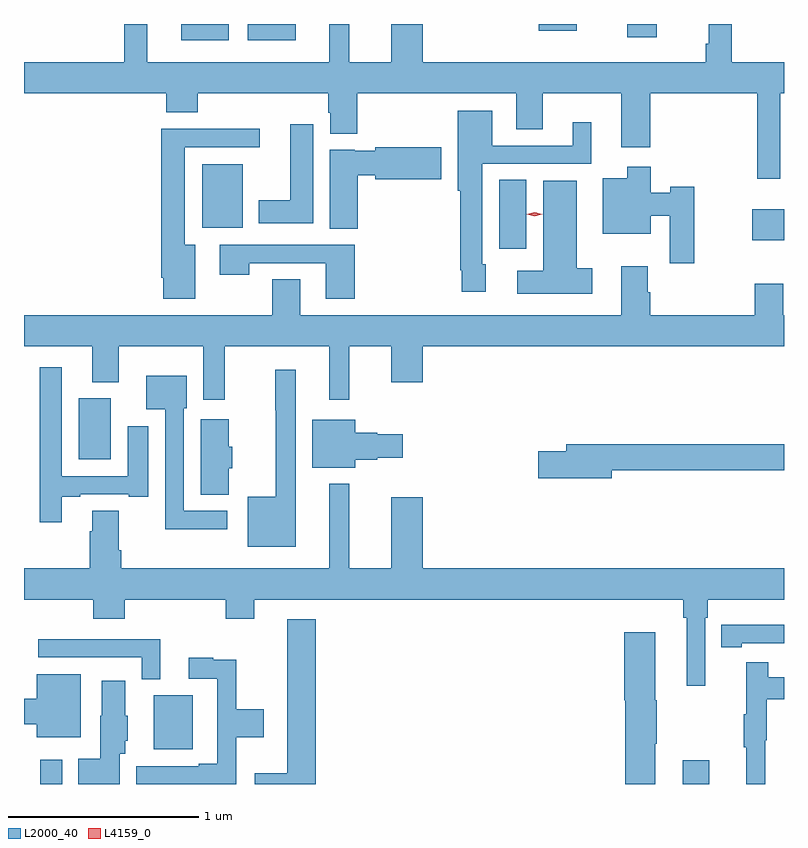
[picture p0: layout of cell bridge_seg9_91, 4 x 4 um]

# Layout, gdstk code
import gdstk
lib = gdstk.Library(unit=1e-6, precision=1e-09)
def R(c, l, rs):  # rectangles x0, y0, x1, y1
    for r in rs: c.add(gdstk.rectangle(r[:2], r[2:], *l))
def P(c, l, *ps):  # polygons
    for p in ps: c.add(gdstk.Polygon(p, *l))
L2000_40 = (2000, 40)
L4159_0 = (4159, 0)

bridge_seg9_91 = lib.new_cell('bridge_seg9_91')
R(bridge_seg9_91, L2000_40, [(786.535,1238.073,786.651,1238.2), (789.917,1238.073,790.057,1238.197), (787.133,1238.255,787.339,1238.539), (786.737,1239.782,786.907,1240.102), (788.951,1240.89,789.094,1241.252), (790.284,1240.934,790.45,1241.098), (787.388,1241,787.6,1241.335), (787.277,1241.987,787.528,1242.073), (787.628,1241.987,787.879,1242.073), (789.626,1242.003,789.781,1242.073), (789.16,1242.038,789.358,1242.073)])
P(bridge_seg9_91, L2000_40, [(790.429,1241.708),(790.45,1241.708),(790.45,1241.872),(790.175,1241.872),(790.175,1242.073),(790.054,1242.073),(790.054,1241.968),(790.039,1241.968),(790.039,1241.872),(788.548,1241.872),(788.548,1242.073),(788.384,1242.073),(788.384,1241.872),(788.161,1241.872),(788.161,1242.073),(788.057,1242.073),(788.057,1241.872),(787.099,1241.872),(787.099,1242.073),(786.978,1242.073),(786.978,1241.872),(786.45,1241.872),(786.45,1241.708),(787.199,1241.708),(787.199,1241.609),(787.364,1241.609),(787.364,1241.708),(788.051,1241.708),(788.051,1241.607),(788.063,1241.607),(788.063,1241.495),(788.204,1241.495),(788.204,1241.708),(789.041,1241.708),(789.041,1241.518),(789.181,1241.518),(789.181,1241.708),(789.593,1241.708),(789.593,1241.424),(789.746,1241.424),(789.746,1241.708),(790.308,1241.708),(790.308,1241.259),(790.429,1241.259)],
  [(788.881,1240.809),(788.862,1240.809),(788.862,1241.337),(789.436,1241.337),(789.436,1241.557),(789.338,1241.557),(789.338,1241.433),(788.914,1241.433),(788.914,1241.617),(788.732,1241.617),(788.732,1241.195),(788.746,1241.195),(788.746,1240.777),(788.754,1240.777),(788.754,1240.665),(788.881,1240.665)],
  [(787.972,1241.545),(787.85,1241.545),(787.85,1241.146),(787.685,1241.146),(787.685,1241.024),(787.972,1241.024)],
  [(787.351,1240.912),(787.297,1240.912),(787.297,1241.424),(787.69,1241.424),(787.69,1241.522),(787.172,1241.522),(787.172,1240.738),(787.184,1240.738),(787.184,1240.626),(787.351,1240.626)],
  [(788.207,1241.278),(788.298,1241.278),(788.298,1241.255),(788.647,1241.255),(788.647,1241.425),(788.298,1241.425),(788.298,1241.407),(788.19,1241.407),(788.19,1241.41),(788.06,1241.41),(788.06,1240.996),(788.207,1240.996)],
  [(789.978,1241.216),(789.852,1241.216),(789.852,1241.185),(789.748,1241.185),(789.748,1241.323),(789.626,1241.323),(789.626,1241.26),(789.497,1241.26),(789.497,1240.97),(789.748,1240.97),(789.748,1241.063),(789.848,1241.063),(789.848,1240.815),(789.978,1240.815)],
  [(789.442,1240.787),(789.358,1240.787),(789.358,1241.248),(789.182,1241.248),(789.182,1240.774),(789.045,1240.774),(789.045,1240.652),(789.442,1240.652)],
  [(788.192,1240.911),(787.479,1240.911),(787.479,1240.752),(787.635,1240.752),(787.635,1240.815),(788.039,1240.815),(788.039,1240.626),(788.192,1240.626)],
  [(787.507,1240.376),(788.057,1240.376),(788.057,1240.095),(788.161,1240.095),(788.161,1240.376),(788.384,1240.376),(788.384,1240.188),(788.548,1240.188),(788.548,1240.376),(790.45,1240.376),(790.45,1240.54),(790.447,1240.54),(790.447,1240.705),(790.295,1240.705),(790.295,1240.54),(789.746,1240.54),(789.746,1240.661),(789.733,1240.661),(789.733,1240.798),(789.593,1240.798),(789.593,1240.54),(787.903,1240.54),(787.903,1240.73),(787.756,1240.73),(787.756,1240.54),(786.45,1240.54),(786.45,1240.376),(786.809,1240.376),(786.809,1240.187),(786.949,1240.187),(786.949,1240.376),(787.394,1240.376),(787.394,1240.095),(787.507,1240.095)],
  [(786.649,1239.585),(786.745,1239.585),(786.745,1239.597),(787.001,1239.597),(787.001,1239.585),(787.105,1239.585),(787.105,1239.955),(786.995,1239.955),(786.995,1239.693),(786.648,1239.693),(786.648,1240.267),(786.532,1240.267),(786.532,1239.45),(786.649,1239.45)],
  [(787.879,1240.252),(787.773,1240.252),(787.773,1240.039),(787.775,1240.039),(787.775,1239.586),(787.628,1239.586),(787.628,1239.323),(787.879,1239.323)],
  [(787.519,1239.51),(787.29,1239.51),(787.29,1240.05),(787.306,1240.05),(787.306,1240.222),(787.094,1240.222),(787.094,1240.046),(787.194,1240.046),(787.194,1239.413),(787.519,1239.413)],
  [(787.528,1239.735),(787.546,1239.735),(787.546,1239.849),(787.528,1239.849),(787.528,1239.994),(787.379,1239.994),(787.379,1239.595),(787.528,1239.595)],
  [(788.194,1239.779),(788.31,1239.779),(788.31,1239.791),(788.443,1239.791),(788.443,1239.913),(788.31,1239.913),(788.31,1239.921),(788.194,1239.921),(788.194,1239.991),(787.967,1239.991),(787.967,1239.737),(788.194,1239.737)],
  [(789.544,1239.724),(790.45,1239.724),(790.45,1239.86),(789.305,1239.86),(789.305,1239.824),(789.156,1239.824),(789.156,1239.682),(789.544,1239.682)],
  [(790.035,1238.948),(790.049,1238.948),(790.049,1239.044),(790.45,1239.044),(790.45,1239.208),(788.548,1239.208),(788.548,1239.583),(788.384,1239.583),(788.384,1239.208),(788.161,1239.208),(788.161,1239.652),(788.057,1239.652),(788.057,1239.208),(786.962,1239.208),(786.962,1239.304),(786.949,1239.304),(786.949,1239.512),(786.809,1239.512),(786.809,1239.404),(786.797,1239.404),(786.797,1239.208),(786.45,1239.208),(786.45,1239.044),(786.815,1239.044),(786.815,1238.942),(786.98,1238.942),(786.98,1239.044),(787.511,1239.044),(787.511,1238.942),(787.663,1238.942),(787.663,1239.044),(789.919,1239.044),(789.919,1238.948),(789.938,1238.948),(789.938,1238.589),(790.035,1238.589)],
  [(787.985,1238.941),(787.835,1238.941),(787.835,1238.129),(787.665,1238.129),(787.665,1238.073),(787.985,1238.073)],
  [(790.228,1238.814),(790.45,1238.814),(790.45,1238.911),(790.228,1238.911),(790.228,1238.91),(790.12,1238.91),(790.12,1238.794),(790.228,1238.794)],
  [(789.772,1238.284),(789.78,1238.284),(789.78,1238.514),(789.772,1238.514),(789.772,1238.872),(789.608,1238.872),(789.608,1238.514),(789.614,1238.514),(789.614,1238.073),(789.772,1238.073)],
  [(787.168,1238.835),(786.525,1238.835),(786.525,1238.739),(787.071,1238.739),(787.071,1238.624),(787.168,1238.624)],
  [(787.568,1238.318),(787.711,1238.318),(787.711,1238.466),(787.568,1238.466),(787.568,1238.726),(787.445,1238.726),(787.445,1238.737),(787.317,1238.737),(787.317,1238.628),(787.467,1238.628),(787.467,1238.179),(787.37,1238.179),(787.37,1238.166),(787.041,1238.166),(787.041,1238.073),(787.568,1238.073)],
  [(790.352,1238.304),(790.36,1238.304),(790.36,1238.518),(790.45,1238.518),(790.45,1238.634),(790.367,1238.634),(790.367,1238.713),(790.25,1238.713),(790.25,1238.441),(790.239,1238.441),(790.239,1238.267),(790.25,1238.267),(790.25,1238.073),(790.352,1238.073)],
  [(786.748,1238.65),(786.518,1238.65),(786.518,1238.521),(786.45,1238.521),(786.45,1238.387),(786.518,1238.387),(786.518,1238.318),(786.748,1238.318)],
  [(786.955,1238.232),(786.982,1238.232),(786.982,1238.301),(786.997,1238.301),(786.997,1238.433),(786.982,1238.433),(786.982,1238.617),(786.86,1238.617),(786.86,1238.433),(786.851,1238.433),(786.851,1238.206),(786.736,1238.206),(786.736,1238.073),(786.955,1238.073)])
P(bridge_seg9_91, L4159_0, [(789.137,1241.061),(789.097,1241.071),(789.097,1241.071),(789.097,1241.072),(789.137,1241.081),(789.178,1241.072),(789.178,1241.071),(789.178,1241.071)])

lib.write_gds('bridge_seg9_91.gds')
